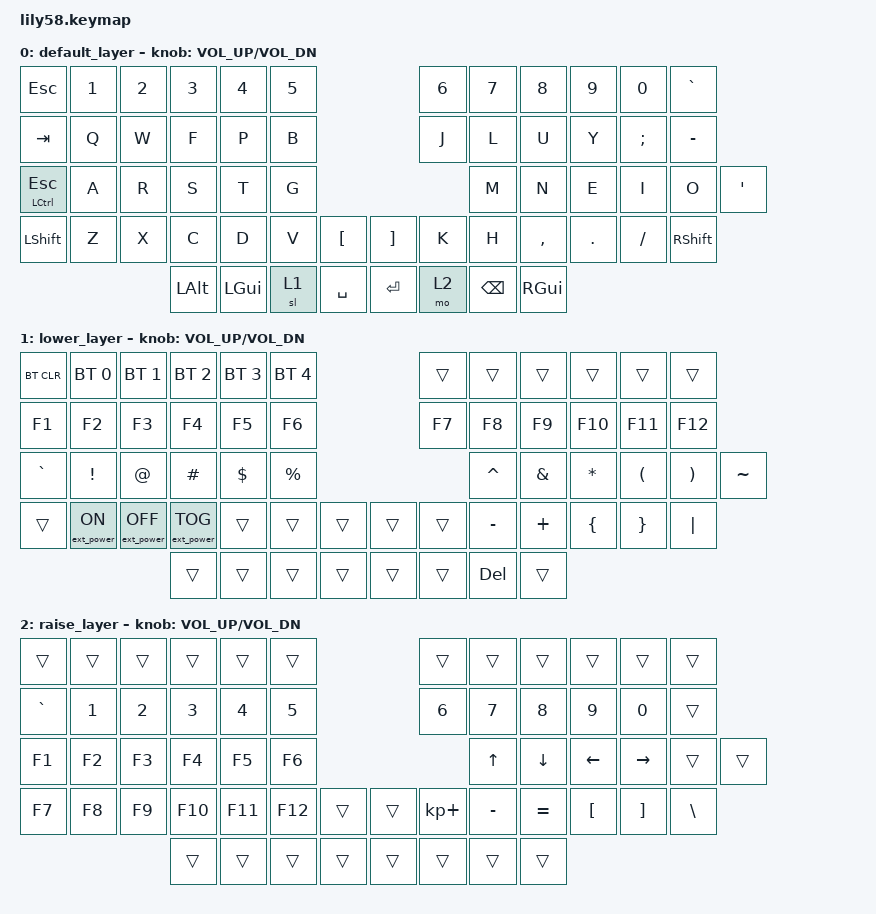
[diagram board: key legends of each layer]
/*
 * Copyright (c) 2020 The ZMK Contributors
 *
 * SPDX-License-Identifier: MIT
 */


#include <behaviors.dtsi>
#include <dt-bindings/zmk/keys.h>
#include <dt-bindings/zmk/bt.h>
#include <dt-bindings/zmk/ext_power.h>

/ {
    keymap {
        compatible = "zmk,keymap";

// COLEMAK-DH
        default_layer {
// ------------------------------------------------------------------------------------------------------------
// |  ESC  |  1  |  2  |  3   |  4   |  5   |                   |  6   |  7    |  8    |  9   |   0   |   `   |
// |  TAB  |  Q  |  W  |  F   |  P   |  B   |                   |  J   |  L    |  U    |  Y   |   ;   |   -   |
// |  CTRL |  A  |  R  |  S   |  T   |  G   |                   |  M   |  N    |  E    |  I   |   O   |   '   |
// | SHIFT |  Z  |  X  |  C   |  D   |  V   |   "["  |  |  "]"  |  K   |  H    |  ,    |  .   |   /   | SHIFT |
//                     | ALT  | GUI  | LOWER|  SPACE |  | ENTER | RAISE| BSPC  | GUI   |
            bindings = <
&kp ESC   &kp N1 &kp N2 &kp N3   &kp N4   &kp N5                     &kp N6 &kp N7   &kp N8    &kp N9  &kp N0   &kp GRAVE
&kp TAB   &kp Q  &kp W  &kp F    &kp P    &kp B                      &kp J  &kp L    &kp U     &kp Y   &kp SEMI &kp MINUS
&mt LCTRL ESC &kp A  &kp R  &kp S    &kp T    &kp G                      &kp M  &kp N    &kp E     &kp I   &kp O 	&kp SQT
&kp LSHFT &kp Z  &kp X  &kp C    &kp D    &kp V  &kp LBKT   &kp RBKT &kp K  &kp H    &kp COMMA &kp DOT &kp FSLH &kp RSHFT
                        &kp LALT &kp LGUI &sl 1  &kp SPACE  &kp RET  &mo 2  &kp BSPC &kp RGUI
            >;

            sensor-bindings = <&inc_dec_kp C_VOL_UP C_VOL_DN>;
        };

        lower_layer {
// ------------------------------------------------------------------------------------------------------------
// | BTCLR | BT1 | BT2 |  BT3 |  BT4 |  BT5 |                   |      |       |       |      |       |       |
// |  F1   |  F2 |  F3 |  F4  |  F5  |  F6  |                   |  F7  |  F8   |  F9   |  F10 |  F11  |  F12  |
// |   `   |  !  |  @  |  #   |  $   |  %   |                   |  ^   |  &    |  *    |  (   |   )   |   ~   |
// |       |     |     |      |      |      |        |  |       |      |  _    |  +    |  {   |   }   |  "|"  |
//                     |      |      |      |        |  |       |      |       |       |
            bindings = <
&bt BT_CLR &bt BT_SEL 0     &bt BT_SEL 1      &bt BT_SEL 2      &bt BT_SEL 3 &bt BT_SEL 4                 &trans    &trans    &trans    &trans    &trans    &trans
&kp F1     &kp F2           &kp F3            &kp F4            &kp F5       &kp F6                       &kp F7    &kp F8    &kp F9    &kp F10   &kp F11   &kp F12
&kp GRAVE  &kp EXCL         &kp AT            &kp HASH          &kp DOLLAR   &kp PRCNT                    &kp CARET &kp AMPS  &kp ASTRK &kp LPAR  &kp RPAR  &kp TILDE
&trans     &ext_power EP_ON &ext_power EP_OFF &ext_power EP_TOG &trans       &trans    &trans   &trans    &trans    &kp MINUS &kp PLUS  &kp LBRC  &kp RBRC  &kp PIPE
                                              &trans            &trans       &trans    &trans   &trans    &trans    &kp DEL    &trans
            >;

            sensor-bindings = <&inc_dec_kp C_VOL_UP C_VOL_DN>;
        };

        raise_layer {
// ------------------------------------------------------------------------------------------------------------
// |       |     |     |      |      |      |                   |      |       |       |      |       |       |
// |   `   |  1  |  2  |  3   |  4   |  5   |                   |  6   |   7   |   8   |  9   |   0   |       |
// |   F1  |  F2 |  F3 |  F4  |  F5  |  F6  |                   |      |   <-  |   v   |  ^   |  ->   |       |
// |   F7  |  F8 |  F9 |  F10 |  F11 |  F12 |        |  |       |  +   |   -   |   =   |  [   |   ]   |   \   |
//                     |      |      |      |        |  |       |      |       |       |
            bindings = <
&trans    &trans &trans &trans  &trans  &trans                       &trans      &trans    &trans    &trans   &trans    &trans
&kp GRAVE &kp N1 &kp N2 &kp N3  &kp N4  &kp N5                       &kp N6      &kp N7    &kp N8    &kp N9   &kp N0    &trans
&kp F1    &kp F2 &kp F3 &kp F4  &kp F5  &kp F6                       &kp UP      &kp DOWN  &kp LEFT  &kp RIGHT &trans   &trans
&kp F7    &kp F8 &kp F9 &kp F10 &kp F11 &kp F12   &trans   &trans    &kp KP_PLUS &kp MINUS &kp EQUAL &kp LBKT &kp RBKT  &kp BSLH
                        &trans  &trans  &trans    &trans   &trans    &trans      &trans    &trans
            >;

            sensor-bindings = <&inc_dec_kp C_VOL_UP C_VOL_DN>;
        };
    };
};
